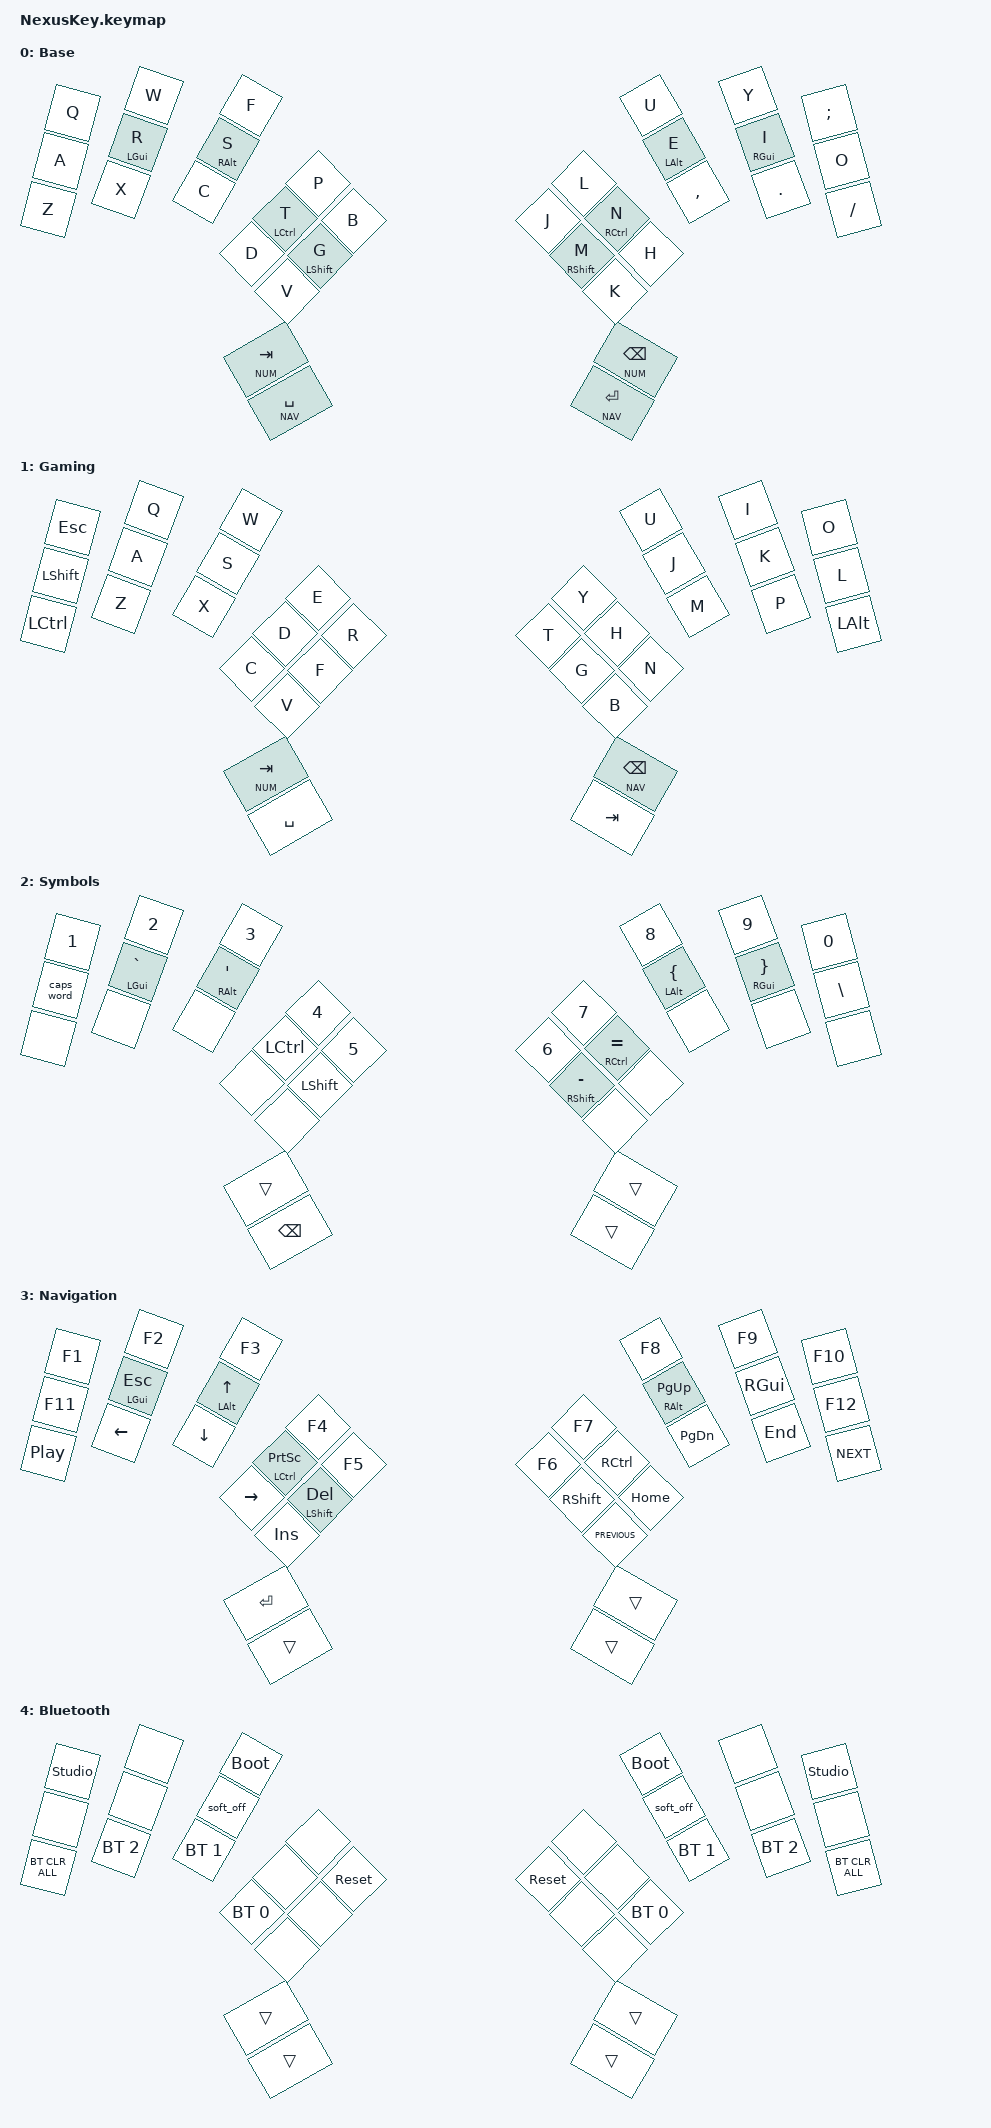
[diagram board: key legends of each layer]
#include <behaviors.dtsi>
#include <dt-bindings/zmk/keys.h>
#include <dt-bindings/zmk/bt.h>

#define DEFAULT 0
#define GAME 1
#define NUM 2
#define NAV 3
#define BT 4

&soft_off {
    hold-time-ms = <3000>;  // Wait 3s
};

// Mod-Tap
&mt {
    tapping-term-ms = <1000>;
};

/ {
    keymap {
        compatible = "zmk,keymap";

        default_layer {
            display-name = "Base";
            bindings = <
            &kp Q  &kp W  &kp F  &kp P  &kp B  &kp J  &kp L  &kp U  &kp Y  &kp SEMI  &kp A  &mt LGUI R  &mt RALT S  &mt LCTRL T  &mt LSHFT G  &lt NUM TAB  &lt NUM BSPC  &mt RSHFT M  &mt RCTRL N  &mt LALT E  &mt RGUI I  &kp O  &kp Z  &kp X  &kp C  &kp D  &kp V  &lt NAV SPACE  &lt NAV ENTER  &kp K  &kp H  &kp COMMA  &kp PERIOD  &kp SLASH
            >;
        };

        game_layer {
            display-name = "Gaming";
            bindings = <
            &kp ESC  &kp Q  &kp W  &kp E  &kp R  &kp T  &kp Y  &kp U  &kp I  &kp O  &kp LSHFT  &kp A  &kp S  &kp D  &kp F  &lt NUM TAB  &lt NAV BSPC  &kp G  &kp H  &kp J  &kp K  &kp L  &kp LCTRL  &kp Z  &kp X  &kp C  &kp V  &kp SPACE  &kp TAB  &kp B  &kp N  &kp M  &kp P  &kp LALT
            >;
        };

        num_layer {
            display-name = "Symbols";
            bindings = <
            &kp N1  &kp N2  &kp N3  &kp N4  &kp N5  &kp N6  &kp N7  &kp N8  &kp N9  &kp N0  &caps_word  &mt LGUI GRAVE  &mt RIGHT_ALT APOS  &kp LEFT_CONTROL  &kp LEFT_SHIFT  &trans  &trans  &mt RSHFT MINUS  &mt RCTRL EQUAL  &mt LEFT_ALT LEFT_BRACE  &mt RGUI RIGHT_BRACE  &kp BACKSLASH  &none  &none  &none  &none  &none  &kp BACKSPACE  &trans  &none  &none  &none  &none  &none
            >;
        };

        nav_layer {
            display-name = "Navigation";
            bindings = <
            &kp F1  &kp F2  &kp F3  &kp F4  &kp F5  &kp F6  &kp F7  &kp F8  &kp F9  &kp F10  &kp F11  &mt LGUI ESCAPE  &mt LALT UP_ARROW  &mt LCTRL PRINTSCREEN  &mt LSHFT DELETE  &kp RETURN  &trans  &kp RSHFT  &kp RCTRL  &mt RALT PAGE_UP  &kp RGUI  &kp F12  &kp C_PLAY_PAUSE  &kp LEFT  &kp DOWN_ARROW  &kp RIGHT_ARROW  &kp INSERT  &trans  &trans  &kp C_PREVIOUS  &kp HOME  &kp PAGE_DOWN  &kp END  &kp C_NEXT
            >;
        };

        bt_layer {
            display-name = "Bluetooth";
            bindings = <
            &studio_unlock  &none  &bootloader  &none  &sys_reset  &sys_reset  &none  &bootloader  &none  &studio_unlock  &none  &none  &soft_off  &none  &none  &trans  &trans  &none  &none  &soft_off  &none  &none  &bt BT_CLR_ALL  &bt BT_SEL 2  &bt BT_SEL 1  &bt BT_SEL 0  &none  &trans  &trans  &none  &bt BT_SEL 0  &bt BT_SEL 1  &bt BT_SEL 2  &bt BT_CLR_ALL
            >;
        };
    };
};

/ {
    combos {
        compatible = "zmk,combos";

        combo_game_layer {
            timeout-ms = <50>;
            key-positions = <15 16 27 28>;
            bindings = <&tog GAME>;
        };

        combo_bt_layer {
            timeout-ms = <50>;
            key-positions = <15 16>;
            bindings = <&mo BT>;
        };
    };
};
